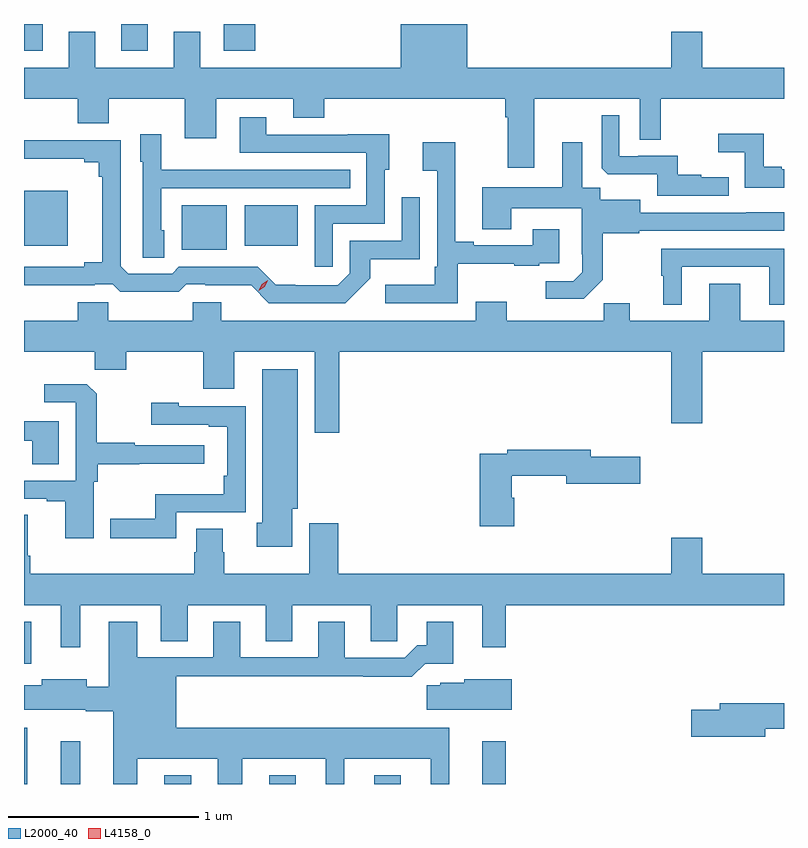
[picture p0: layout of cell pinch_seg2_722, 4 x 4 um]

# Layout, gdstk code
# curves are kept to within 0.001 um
import gdstk
lib = gdstk.Library(unit=1e-6, precision=1e-09)
def R(c, l, rs):  # rectangles x0, y0, x1, y1
    for r in rs: c.add(gdstk.rectangle(r[:2], r[2:], *l))
def A(c, l, x, y, w, h, nx, ny, dx, dy):  # array of equal rectangles
    R(c, l, [(x+i*dx, y+j*dy, x+i*dx+w, y+j*dy+h) for i in range(nx) for j in range(ny)])
def P(c, l, *ps):  # polygons
    for p in ps: c.add(gdstk.Polygon(p, *l))
L2000_40 = (2000, 40)
L4158_0 = (4158, 0)

pinch_seg2_722 = lib.new_cell('pinch_seg2_722')
A(pinch_seg2_722, L2000_40, 821.681, 629.378, 0.14, 0.047, 3, 1, 0.552, 0)
R(pinch_seg2_722, L2000_40, [(820.942,629.378,820.96,629.674), (821.135,629.378,821.239,629.602), (823.355,629.378,823.477,629.602), (820.942,630.011,820.981,630.232), (821.771,632.189,822.01,632.425), (820.942,632.21,821.173,632.5), (822.104,632.21,822.382,632.425), (820.942,633.237,821.041,633.378), (821.453,633.237,821.593,633.378), (821.993,633.237,822.158,633.378)])
P(pinch_seg2_722, L2000_40, [(823.627,632.984),(824.184,632.984),(824.184,632.77),(824.293,632.77),(824.293,632.984),(824.942,632.984),(824.942,633.148),(824.512,633.148),(824.512,633.337),(824.348,633.337),(824.348,633.148),(823.276,633.148),(823.276,633.378),(822.926,633.378),(822.926,633.148),(821.869,633.148),(821.869,633.338),(821.729,633.338),(821.729,633.148),(821.317,633.148),(821.317,633.338),(821.177,633.338),(821.177,633.148),(820.942,633.148),(820.942,632.984),(821.225,632.984),(821.225,632.856),(821.389,632.856),(821.389,632.984),(821.789,632.984),(821.789,632.778),(821.953,632.778),(821.953,632.984),(822.359,632.984),(822.359,632.885),(822.523,632.885),(822.523,632.984),(823.475,632.984),(823.475,632.888),(823.487,632.888),(823.487,632.622),(823.627,632.622)],
  [(824.651,632.572),(824.507,632.572),(824.507,632.584),(824.384,632.584),(824.384,632.685),(824.176,632.685),(824.176,632.682),(824.076,632.682),(824.076,632.899),(823.983,632.899),(823.983,632.619),(824.015,632.588),(824.274,632.588),(824.274,632.475),(824.651,632.475)],
  [(822.567,632.328),(822.84,632.328),(822.84,632.61),(822.865,632.61),(822.865,632.798),(822.647,632.798),(822.647,632.796),(822.217,632.796),(822.217,632.887),(822.077,632.887),(822.077,632.7),(822.744,632.7),(822.744,632.424),(822.471,632.424),(822.471,632.1),(822.567,632.1)],
  [(824.942,632.613),(824.929,632.613),(824.929,632.626),(824.835,632.626),(824.835,632.801),(824.595,632.801),(824.595,632.702),(824.736,632.702),(824.736,632.517),(824.942,632.517)],
  [(821.68,632.292),(821.664,632.292),(821.664,632.514),(822.659,632.514),(822.659,632.61),(821.981,632.61),(821.981,632.611),(821.664,632.611),(821.664,632.797),(821.555,632.797),(821.555,632.652),(821.568,632.652),(821.568,632.149),(821.68,632.149)],
  [(822.765,632.039),(822.765,632.141),(823.026,632.141),(823.026,632.467),(822.93,632.467),(822.93,632.238),(822.657,632.238),(822.657,632.067),(822.594,632.004),(822.37,632.004),(822.37,632.006),(822.266,632.006),(822.171,632.1),(821.757,632.1),(821.721,632.064),(821.49,632.064),(821.451,632.103),(821.451,632.766),(820.942,632.766),(820.942,632.669),(821.258,632.669),(821.258,632.65),(821.335,632.65),(821.335,632.573),(821.354,632.573),(821.354,632.123),(821.258,632.123),(821.258,632.1),(820.942,632.1),(820.942,632.003),(821.315,632.003),(821.315,632.007),(821.409,632.007),(821.449,631.968),(821.757,631.968),(821.796,632.007),(821.896,632.007),(821.896,632.003),(822.137,632.003),(822.231,631.908),(822.634,631.908)],
  [(823.989,632.031),(823.989,632.277),(824.181,632.277),(824.181,632.289),(824.942,632.289),(824.942,632.386),(824.185,632.385),(824.185,632.452),(823.974,632.452),(823.974,632.516),(823.879,632.516),(823.879,632.755),(823.775,632.755),(823.775,632.518),(823.355,632.518),(823.355,632.299),(823.507,632.299),(823.507,632.408),(823.878,632.408),(823.878,632.167),(823.88,632.167),(823.88,632.072),(823.833,632.025),(823.689,632.025),(823.689,631.931),(823.889,631.931)],
  [(823.225,632.117),(823.523,632.117),(823.523,632.106),(823.655,632.106),(823.655,632.118),(823.759,632.118),(823.759,632.299),(823.619,632.299),(823.619,632.214),(823.309,632.214),(823.309,632.233),(823.213,632.233),(823.213,632.755),(823.041,632.755),(823.041,632.606),(823.116,632.606),(823.116,632.101),(823.104,632.101),(823.104,632.005),(822.843,632.005),(822.843,631.908),(823.225,631.908)],
  [(824.404,632.1),(824.864,632.1),(824.864,631.901),(824.942,631.901),(824.942,632.196),(824.295,632.196),(824.295,632.052),(824.306,632.052),(824.306,631.901),(824.404,631.901)],
  [(822.602,631.652),(824.348,631.652),(824.348,631.278),(824.512,631.278),(824.512,631.652),(824.942,631.652),(824.942,631.816),(824.713,631.816),(824.713,632.011),(824.549,632.011),(824.549,631.816),(824.131,631.816),(824.131,631.907),(823.993,631.907),(823.993,631.816),(823.483,631.816),(823.483,631.915),(823.319,631.915),(823.319,631.816),(821.98,631.816),(821.98,631.914),(821.83,631.914),(821.83,631.816),(821.385,631.816),(821.385,631.914),(821.225,631.914),(821.225,631.816),(820.942,631.816),(820.942,631.652),(821.315,631.652),(821.315,631.559),(821.479,631.559),(821.479,631.652),(821.885,631.652),(821.885,631.458),(822.049,631.458),(822.049,631.652),(822.473,631.652),(822.473,631.227),(822.602,631.227)],
  [(822.355,630.828),(822.382,630.828),(822.382,631.561),(822.197,631.561),(822.197,630.752),(822.167,630.752),(822.167,630.626),(822.355,630.626)],
  [(821.31,630.968),(821.33,630.968),(821.33,631.06),(821.549,631.06),(821.549,631.064),(821.89,631.064),(821.89,631.161),(821.525,631.161),(821.525,631.174),(821.325,631.174),(821.325,631.431),(821.273,631.483),(821.049,631.483),(821.049,631.386),(821.214,631.386),(821.214,630.975),(820.942,630.975),(820.942,630.879),(821.063,630.879),(821.063,630.867),(821.159,630.867),(821.159,630.672),(821.31,630.672)],
  [(821.742,630.807),(822.108,630.807),(822.108,631.365),(821.757,631.365),(821.757,631.384),(821.613,631.384),(821.613,631.269),(821.915,631.269),(821.915,631.257),(822.012,631.257),(822.012,631),(821.992,631),(821.992,630.904),(821.634,630.904),(821.634,630.773),(821.397,630.773),(821.397,630.671),(821.742,630.671)],
  [(821.125,631.286),(820.942,631.286),(820.942,631.185),(820.985,631.185),(820.985,631.06),(821.125,631.06)],
  [(823.523,630.885),(823.51,630.885),(823.51,631),(823.796,631),(823.796,630.958),(824.185,630.958),(824.185,631.1),(823.924,631.1),(823.924,631.136),(823.486,631.136),(823.486,631.116),(823.34,631.116),(823.34,630.735),(823.523,630.735)],
  [(820.963,630.58),(820.963,630.794),(820.942,630.794),(820.942,630.32),(821.135,630.32),(821.135,630.099),(821.239,630.099),(821.239,630.32),(821.663,630.32),(821.663,630.13),(821.803,630.13),(821.803,630.32),(822.215,630.32),(822.215,630.13),(822.355,630.13),(822.355,630.32),(822.767,630.32),(822.767,630.13),(822.906,630.13),(822.906,630.32),(823.355,630.32),(823.355,630.099),(823.477,630.099),(823.477,630.32),(824.942,630.32),(824.942,630.484),(824.512,630.484),(824.512,630.673),(824.348,630.673),(824.348,630.484),(822.596,630.484),(822.596,630.751),(822.443,630.751),(822.443,630.484),(821.997,630.484),(821.997,630.597),(821.989,630.597),(821.989,630.722),(821.849,630.722),(821.849,630.597),(821.837,630.597),(821.837,630.484),(820.976,630.484),(820.976,630.58)],
  [(821.539,629.51),(821.963,629.51),(821.963,629.378),(822.091,629.378),(822.091,629.51),(822.53,629.51),(822.53,629.378),(822.628,629.378),(822.628,629.51),(823.082,629.51),(823.082,629.378),(823.18,629.378),(823.18,629.674),(821.743,629.674),(821.743,629.944),(822.727,629.944),(822.727,629.942),(822.983,629.942),(823.053,630.012),(823.201,630.012),(823.201,630.232),(823.061,630.232),(823.061,630.109),(823.012,630.109),(822.945,630.042),(822.631,630.042),(822.631,630.232),(822.491,630.232),(822.491,630.045),(822.079,630.045),(822.079,630.232),(821.939,630.232),(821.939,630.045),(821.539,630.045),(821.539,630.232),(821.387,630.232),(821.387,629.89),(821.272,629.89),(821.272,629.929),(821.036,629.929),(821.036,629.897),(820.942,629.897),(820.942,629.768),(821.268,629.768),(821.268,629.761),(821.411,629.761),(821.411,629.378),(821.539,629.378)],
  [(823.51,629.929),(823.26,629.929),(823.26,629.911),(823.134,629.911),(823.134,629.897),(823.062,629.897),(823.062,629.768),(823.51,629.768)],
  [(824.842,629.668),(824.942,629.668),(824.942,629.804),(824.603,629.804),(824.603,629.768),(824.454,629.768),(824.454,629.626),(824.842,629.626)])
P(pinch_seg2_722, L4158_0, [(822.177,631.975),(822.177,631.976),(822.193,632.009),(822.224,632.03),(822.224,632.03),(822.224,632.03),(822.208,631.996),(822.177,631.975)])

lib.write_gds('pinch_seg2_722.gds')
